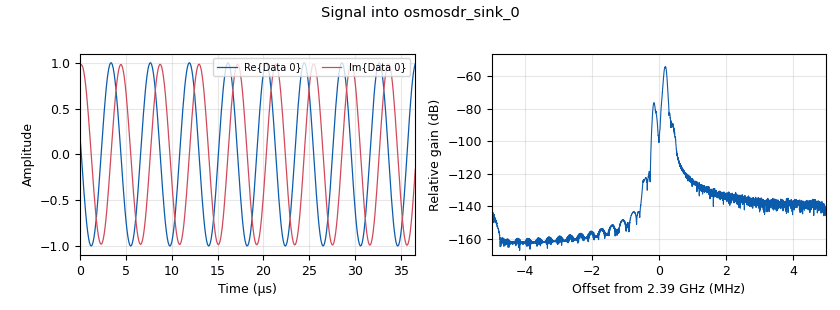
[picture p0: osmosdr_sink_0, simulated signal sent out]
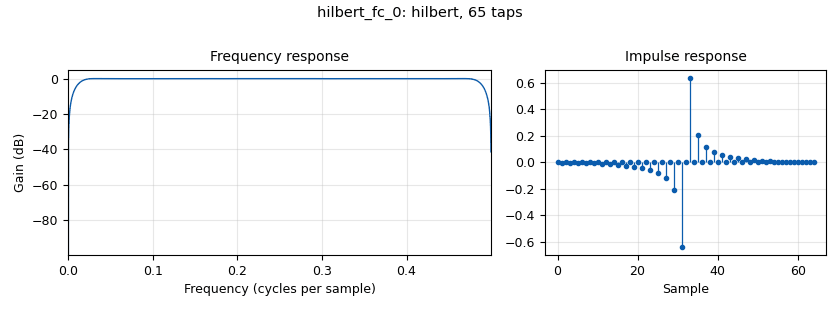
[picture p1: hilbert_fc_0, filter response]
options:
  parameters:
    category: Custom
    generate_options: qt_gui
    id: top_block
    output_language: python
  states: {}

blocks:
- name: Bandwith
  id: variable_qtgui_range
  parameters:
    orient: Qt.Horizontal
    start: 1e5
    step: '100000'
    stop: 20e6
    value: 1e5
    widget: slider
  states: {}
- name: Frequency
  id: variable_qtgui_range
  parameters:
    orient: Qt.Horizontal
    start: 433e6
    step: 1e6
    stop: 2450e6
    value: 2390e6
    widget: slider
  states: {}
- name: band
  id: variable
  parameters:
    value: '1000000'
  states: {}
- name: sample_rate
  id: variable
  parameters:
    value: int(10000000)
  states: {}
- name: analog_sig_source_x_0
  id: analog_sig_source_x
  parameters:
    amp: '0.5'
    freq: 1e3
    offset: '0'
    phase: '0'
    samp_rate: sample_rate
    type: float
    waveform: analog.GR_SAW_WAVE
  states: {}
- name: blocks_vco_f_0
  id: blocks_vco_f
  parameters:
    amplitude: '1'
    samp_rate: sample_rate
    sensitivity: 6.28e6
  states: {}
- name: hilbert_fc_0
  id: hilbert_fc
  parameters:
    num_taps: '65'
    win: firdes.WIN_HAMMING
  states: {}
- name: osmosdr_sink_0
  id: osmosdr_sink
  parameters:
    args: bladerf=0
    bb_gain0: '10'
    freq0: Frequency
    gain0: '5'
    if_gain0: '10'
    sample_rate: sample_rate
    sync: sync
    type: fc32
  states: {}
- name: osmosdr_source_0
  id: osmosdr_source
  parameters:
    args: bladerf=0
    bb_gain0: '20'
    freq0: Frequency
    gain0: '10'
    gain_mode0: 'True'
    if_gain0: '20'
    sample_rate: sample_rate
    sync: sync
    type: fc32
  states: {}
- name: qtgui_freq_sink_x_0
  id: qtgui_freq_sink_x
  parameters:
    bw: sample_rate
    fc: Frequency
    fftsize: '1024'
    type: complex
    wintype: firdes.WIN_BLACKMAN_hARRIS
  states: {}
- name: qtgui_freq_sink_x_0_0
  id: qtgui_freq_sink_x
  parameters:
    bw: sample_rate
    fc: Frequency
    fftsize: '1024'
    type: complex
    wintype: firdes.WIN_BLACKMAN_hARRIS
  states: {}
- name: qtgui_sink_x_0_0
  id: qtgui_sink_x
  parameters:
    bw: sample_rate
    fc: Frequency
    fftsize: '1024'
    type: complex
    wintype: firdes.WIN_BLACKMAN_hARRIS
  states: {}

connections:
- [analog_sig_source_x_0, '0', blocks_vco_f_0, '0']
- [blocks_vco_f_0, '0', hilbert_fc_0, '0']
- [hilbert_fc_0, '0', osmosdr_sink_0, '0']
- [osmosdr_source_0, '0', qtgui_freq_sink_x_0, '0']
- [osmosdr_source_0, '0', qtgui_sink_x_0_0, '0']

metadata:
  file_format: 1
